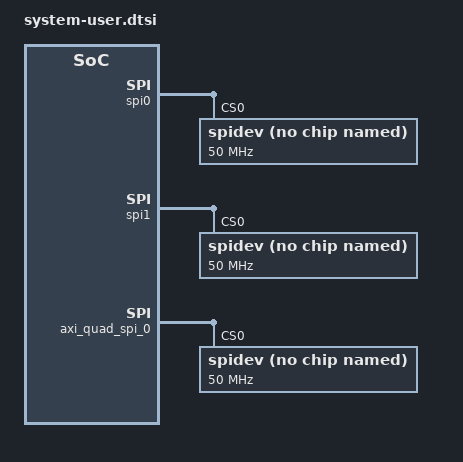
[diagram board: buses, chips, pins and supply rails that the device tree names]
/include/ "system-conf.dtsi"
/ {
};

/* PS SPI0 via MIO — spidev */
&spi0 {
	status = "okay";
	spidev@0 {
		compatible = "rohm,dh2228fv";
		reg = <0>;
		spi-max-frequency = <50000000>;
	};
};

/* PS SPI1 via EMIO — spidev */
&spi1 {
	status = "okay";
	spidev@0 {
		compatible = "rohm,dh2228fv";
		reg = <0>;
		spi-max-frequency = <50000000>;
	};
};

/* AXI Quad SPI in PL — spidev */
&axi_quad_spi_0 {
	status = "okay";
	spidev@0 {
		compatible = "rohm,dh2228fv";
		reg = <0>;
		spi-max-frequency = <50000000>;
	};
};
